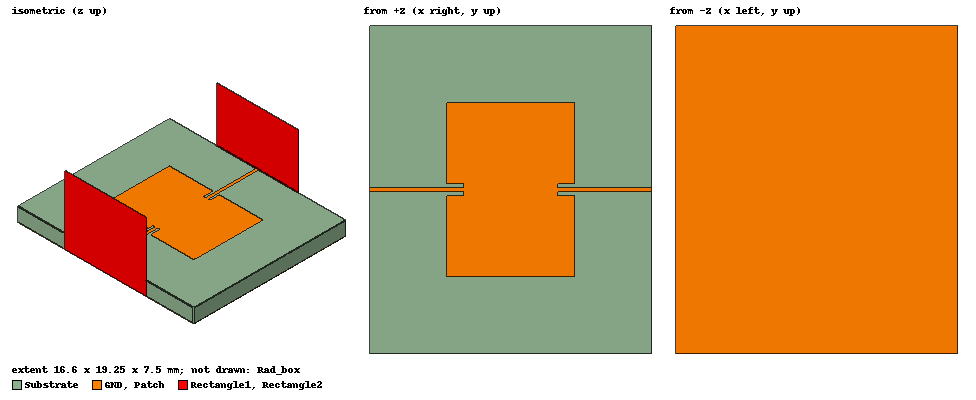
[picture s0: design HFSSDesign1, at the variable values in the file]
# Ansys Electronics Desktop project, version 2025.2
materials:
  vacuum: permittivity=1
  copper: permeability=0.999991 conductivity=58000000
  Material1: permittivity=3.3 dielectric_loss_tangent=0.003
  air: permittivity=1.0006 permeability=1.0000004

design HFSSDesign1 (HFSS, HFSS Terminal Network, model units mm)
options: Calculate_Lossy_Dielectrics
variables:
  L_gnd = 16.6mm
  W_gnd = 19.25mm
  copper_height = 0.035mm
  sub_height = 1.5mm
  L_patch = 7.5mm
  W_patch = 10.2mm
  W_gap = 0.75mm
  L_fed = 1mm
  W_mlin = 0.25mm
  lambda = 30mm
  phase_imb = 180
  mag_imb = 1
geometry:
  GND [copper] = box(corner=(-L_gnd/2, -W_gnd/2, 0mm), size=(L_gnd, W_gnd, copper_height))
  Substrate [Material1] = box(corner=(-L_gnd/2, -W_gnd/2, copper_height), size=(L_gnd, W_gnd, sub_height))
  Patch [copper] = box(corner=(-L_patch/2, -W_patch/2, copper_height+sub_height), size=(L_patch, W_patch, copper_height))
  gap_region = box(corner=(L_patch/2 -L_fed, -W_gap/2, copper_height+sub_height), size=(L_fed, W_gap, copper_height))
  Patch.subtract(gap_region)
  feed_line = box(corner=(L_patch/2-L_fed-1mm, -W_mlin/2, copper_height+sub_height), size=(L_gnd/2-(L_patch/2-L_fed)+1mm, W_mlin, copper_height))
  Rad_box [air] = box(corner=(-L_gnd/2, -W_gnd/2-lambda/4, 0), size=(L_gnd, W_gnd+lambda/2, 10mm))
  Rectangle1 = rectangle(corner=(L_gnd/2, -3*sub_height, 0), y_size=6*sub_height, z_size=5*sub_height)
  Patch.unite(feed_line)
  gap_region1 = box(corner=(-L_patch/2 +L_fed, -W_gap/2, copper_height+sub_height), size=(-L_fed, W_gap, copper_height))
  Patch.subtract(gap_region1)
  feed_line1 = box(corner=(-L_patch/2+L_fed+1mm, -W_mlin/2, copper_height+sub_height), size=(-(L_gnd/2-(L_patch/2-L_fed)+1mm), W_mlin, copper_height))
  Patch.unite(feed_line1)
  Rectangle2 = rectangle(corner=(-L_gnd/2, -3*sub_height, 0), y_size=6*sub_height, z_size=5*sub_height)
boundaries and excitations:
  Rad1: Radiation Objects=Rad_box
  Patch_T1: Terminal port=1 Faces=Patch.face(at (8.3, 0, 1.5525)) TerminalResistance=50ohm
  Patch_T2: Terminal port=2 Faces=Patch.face(at (-8.3, 0, 1.5525)) TerminalResistance=50ohm
  1: Wave Port Faces=Rectangle1.face WavePortType=Terminal NumModes=1
  2: Wave Port Faces=Rectangle2.face WavePortType=Terminal NumModes=1 DeembedDist=0mm
  reference conductors: GND
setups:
  Setup1: HfssDriven Frequency=10GHz MaxDeltaS=0.02 MaximumPasses=20 MinimumPasses=1 MinimumConvergedPasses=1 PercentRefinement=30 BasisOrder=1 PortAccuracy=2 DrivenSolverType="Direct Solver"
    sweep Sweep: point 10GHz; Type=Discrete SaveFields
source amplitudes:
  1:1: 1V 0deg
  2:1: mag_imb 180deg
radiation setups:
  Infinite Sphere1: Infinite Sphere Theta=-180deg..180deg step 2deg Phi=0deg..0deg step 0deg
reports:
  Polarization Ratio Plot1: dB10(PolarizationRatioL3X) vs Theta on Setup1 : LastAdaptive, Infinite Sphere1 [Phi=all Freq=10GHz mag_imb=0,0.2,0.4,0.6,0.8,1]; markers MX1 at x=0
